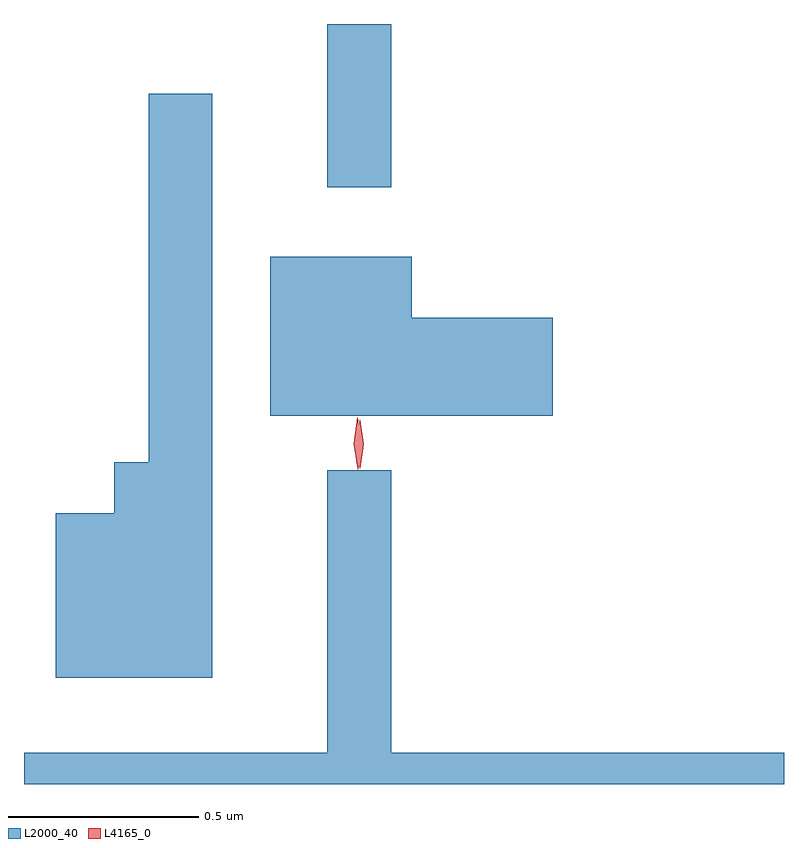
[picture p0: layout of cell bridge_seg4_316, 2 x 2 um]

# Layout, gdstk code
import gdstk
lib = gdstk.Library(unit=1e-6, precision=1e-09)
def R(c, l, rs):  # rectangles x0, y0, x1, y1
    for r in rs: c.add(gdstk.rectangle(r[:2], r[2:], *l))
def P(c, l, *ps):  # polygons
    for p in ps: c.add(gdstk.Polygon(p, *l))
L2000_40 = (2000, 40)
L4165_0 = (4165, 0)

bridge_seg4_316 = lib.new_cell('bridge_seg4_316')
R(bridge_seg4_316, L2000_40, [(568.621,1258.753,568.789,1259.182)])
P(bridge_seg4_316, L2000_40, [(568.319,1258.998),(568.151,1258.998),(568.151,1258.029),(568.061,1258.029),(568.061,1257.894),(567.906,1257.894),(567.906,1257.461),(568.319,1257.461)],
  [(569.214,1258.409),(568.844,1258.409),(568.844,1258.569),(568.471,1258.569),(568.471,1258.151),(569.214,1258.151)],
  [(569.823,1257.264),(568.789,1257.264),(568.789,1258.008),(568.621,1258.008),(568.621,1257.264),(567.823,1257.264),(567.823,1257.182),(569.823,1257.182)])
P(bridge_seg4_316, L4165_0, [(568.707,1258.013),(568.707,1258.013),(568.697,1258.076),(568.707,1258.139),(568.707,1258.14),(568.708,1258.139),(568.717,1258.076),(568.708,1258.013)],
  [(568.701,1258.01),(568.691,1258.078),(568.7,1258.146),(568.7,1258.146),(568.701,1258.146),(568.711,1258.078),(568.702,1258.01),(568.702,1258.01)])

lib.write_gds('bridge_seg4_316.gds')
